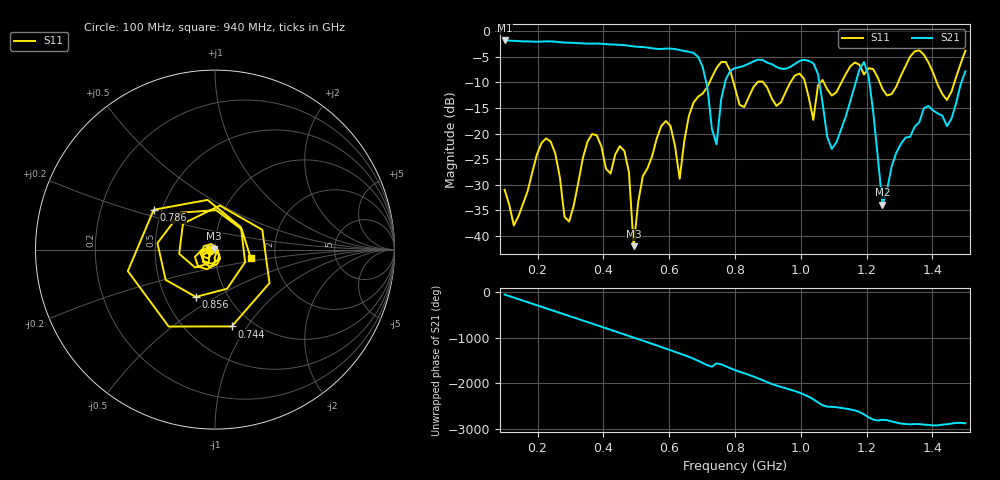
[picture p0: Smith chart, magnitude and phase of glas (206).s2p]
! NanoVNA-App
! Date: 2025-09-25 15:57:04
! Start: 100MHz Stop: 1,5GHz Points: 101
! S-Parameter data: F S11 S21 S12 S22
# Hz S RI R 50
!  Frequency  S11_Real  S11_Imag  S21_Real  S21_Imag  S12_Real  S12_Imag  S22_Real  S22_Imag
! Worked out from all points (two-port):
!   101 points, 100 MHz to 1.5 GHz, reference 50 ohm
!   highest |S21| = -1.80 dB at 100 MHz (marker M1); lowest = -33.8 dB at 1.248 GHz (marker M2)
!   |S21| within 3 dB of the highest: start of sweep to 684.3 MHz
!   lowest |S11| = -42.0 dB at 492 MHz (marker M3), VSWR 1.02, Z = 49.5 + j0.604 ohm
!   |S11| at or under -10 dB: start of sweep to 722.4 MHz; 795.5 MHz to 867.8 MHz (72.33 MHz wide, 8.7 % of centre); 886.1 MHz to 968.1 MHz (82.02 MHz wide, 8.85 % of centre) (the widest 3 of 7)
!   S12 and S22 are empty: the file has one direction only
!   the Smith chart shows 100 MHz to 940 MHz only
!   S11 on the Smith chart (normalised r, x): 100 MHz: 0.95, -0.01; 744 MHz: 0.80, -0.85; 786 MHz: 0.45, +0.24; 856 MHz: 0.71, -0.41; 940 MHz: 1.49, -0.14
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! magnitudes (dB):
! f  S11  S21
! 100 MHz  -31.0  -1.8
! 128 MHz  -37.9  -1.9
! 226 MHz  -20.9  -2.0
! 296 MHz  -37.1  -2.2
! 338 MHz  -24.7  -2.4
! 464 MHz  -23.4  -2.7
! 492 MHz  -42.0  -3.0
! 576 MHz  -18.5  -3.5
! 632 MHz  -28.8  -3.7
! 702 MHz  -12.2  -7.0
! 744 MHz  -7.2  -22.1
! 786 MHz  -7.8  -7.7
! 800 MHz  -11.1  -7.2
! 856 MHz  -10.9  -5.9
! 940 MHz  -13.8  -7.3
! 996 MHz  -8.3  -5.8
! 1.038 GHz  -17.3  -6.2
! 1.094 GHz  -12.6  -23.0
! 1.192 GHz  -8.4  -6.0
! 1.248 GHz  -11.3  -33.8
! 1.276 GHz  -12.3  -26.4
! 1.5 GHz  -3.8  -7.8
